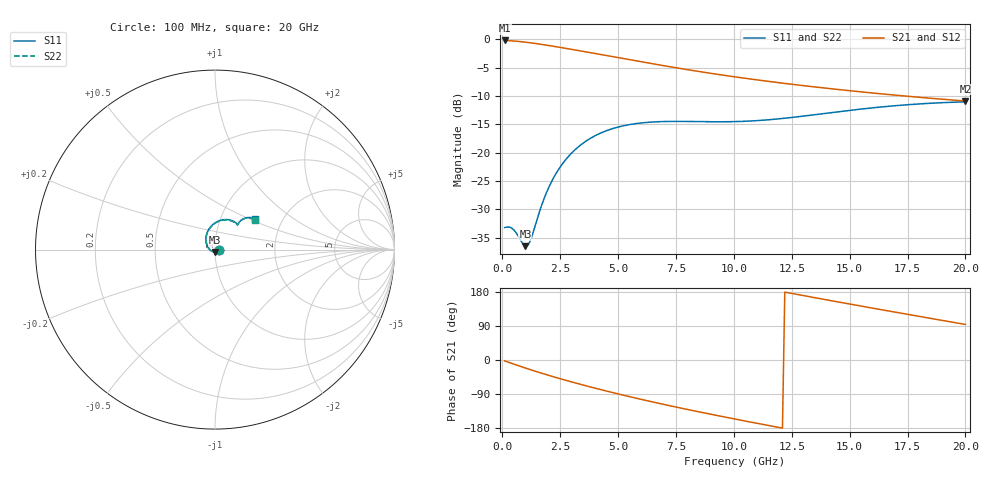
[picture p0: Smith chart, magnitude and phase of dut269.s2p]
! Touchstone file exported from HFSS 2024.1.0
!  File:  C:/UserFiles/LocalFiles/RDL_TSV_Batchsim/temp_RDL_TSV_269_1779461557.aedt
!  Generated:  11:10:09 PM May 22, 2026
!  Design:  RDL_TSV
!  Project:  temp_RDL_TSV_269_1779461557
!  Setup:  Setup1
!  Solution:  Sweep
! Variables:
!  dtsv = 10.79um
!  hbump = 3um
!  htsv = 85.03um
!  ldown = 456.15um
!  lrdl = 644.46um
!  p = 40
!  p1 = 40.79um
!  rhole = 10um
!  subl = 3946.29um
!  t = 450um
!  tdown = 4.73um
!  trdl = 2.18um
!  viad = 10um
!  wdown = 22.43um
!  wrdl = 25.05um
!  xbump = 18um
# GHz S MA R 50.000000
! Terminal data exported
! Port[1] = TM1_1_T1
! Port[2] = TM1_4_T1
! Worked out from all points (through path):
!   200 points, 100 MHz to 20 GHz, reference 50 ohm
!   highest |S21| = -0.20 dB at 100 MHz (marker M1); lowest = -10.9 dB at 20 GHz (marker M2)
!   group delay of S21, straight-line fit = 35.3 ps
!   lowest |S11| = -36.5 dB at 1 GHz (marker M3), VSWR 1.03, Z = 49.9 - j1.49 ohm
!   |S11| at or under -10 dB: start of sweep to end of sweep
!   |S22| runs from -36.4 to -11.2 dB; largest |S21 - S12| = 1.2e-14
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0.1  0.02184 -3.5  0.9776 -2.3  0.9776 -2.3  0.02185 -3.5
! Gamma 0 0 0 0
! Port Impedance 50 0 50 0
0.3  0.02207 -13.9  0.973 -6.7  0.973 -6.7  0.02209 -13.9
0.5  0.02082 -29.1  0.9665 -10.9  0.9665 -10.9  0.02087 -29.1
1  0.01498 -94.7  0.9441 -21.3  0.9441 -21.3  0.01507 -93.9
1.1  0.01523 -113.7  0.9388 -23.3  0.9388 -23.3  0.01527 -112.7
1.2  0.01654 -132.0  0.9331 -25.3  0.9331 -25.3  0.0165 -131.0
1.8  0.03909 164.2  0.8959 -36.8  0.8959 -36.8  0.03854 164.7
2.2  0.05926 144.1  0.8693 -44.1  0.8693 -44.1  0.05842 144.4
2.8  0.08989 123.1  0.829 -54.6  0.829 -54.6  0.08861 123.2
3.5  0.1219 104.9  0.7828 -66.2  0.7828 -66.2  0.1202 105.0
4.2  0.1475 90.7  0.7384 -77.4  0.7384 -77.4  0.1454 90.7
4.9  0.1662 79.1  0.696 -88.0  0.696 -88.0  0.1637 79.1
5.8  0.1809 67.5  0.645 -101.1  0.645 -101.1  0.1782 67.5
6.8  0.1879 58.2  0.5937 -114.9  0.5937 -114.9  0.1849 58.2
8.4  0.1882 49.8  0.524 -135.7  0.524 -135.7  0.1852 49.9
10.1  0.1882 47.5  0.4649 -156.4  0.4649 -156.4  0.1853 47.6
11.7  0.1968 48.2  0.4205 -175.2  0.4205 -175.2  0.194 48.3
13.4  0.2152 48.5  0.3821 165.5  0.3821 165.5  0.2123 48.5
15  0.2362 47.0  0.3523 147.7  0.3523 147.7  0.2332 47.0
16.7  0.2569 44.1  0.3256 129.1  0.3256 129.1  0.2535 44.0
18.3  0.2716 40.6  0.3046 111.9  0.3046 111.9  0.2678 40.5
20  0.2812 37.0  0.2857 93.9  0.2857 93.9  0.277 36.9
